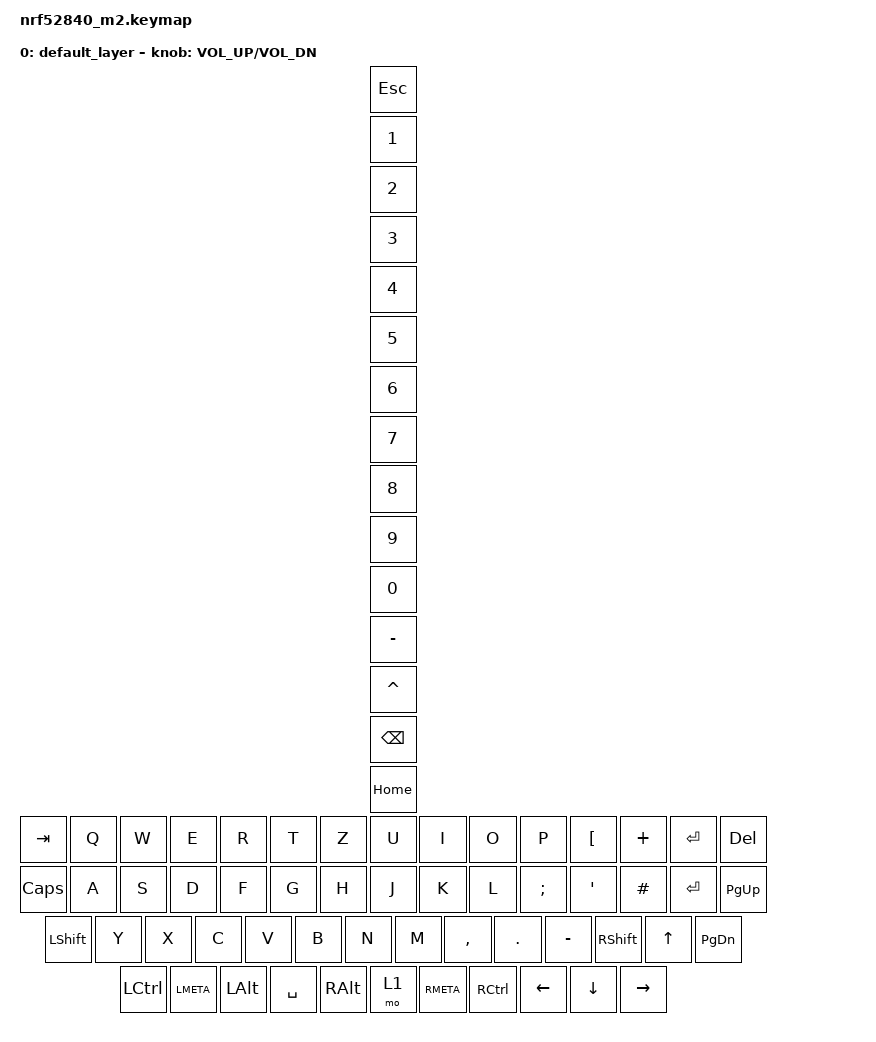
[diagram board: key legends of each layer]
#include <behaviors.dtsi>
#include <dt-bindings/zmk/keys.h>
#include <dt-bindings/zmk/bt.h>
#include <dt-bindings/zmk/rgb.h>
#include <dt-bindings/zmk/backlight.h>


/ {
  chosen {
    zmk,physical-layout = &layout_75_ansi;
  };

  keymap {
    compatible = "zmk,keymap";
    default_layer {
      bindings = <
        &kp ESC
        &kp N1
        &kp N2
        &kp N3
        &kp N4
        &kp N5
        &kp N6
        &kp N7
        &kp  N8
        &kp  N9
        &kp N0
        &kp MINUS
        &kp CARET
        &kp BSPC
        &kp HOME
        &kp TAB   &kp Q  &kp W  &kp E  &kp R  &kp T  &kp Z  &kp U  &kp  I    &kp  O  &kp  P &kp LEFT_BRACKET &kp PLUS &kp ENTER &kp DEL
        &kp CLCK &kp A  &kp S  &kp D  &kp F  &kp G  &kp H  &kp J  &kp  K    &kp  L &kp SEMICOLON &kp SINGLE_QUOTE &kp HASH &kp RET &kp PG_UP
        &kp LSHFT     &kp Y  &kp X  &kp C  &kp V  &kp B  &kp N  &kp M  &kp COMMA &kp DOT &kp MINUS   &kp RSHFT   &kp UP &kp PG_DN
        &kp LCTRL &kp LMETA &kp LALT            &kp SPACE                   &kp RALT  &mo 1 &kp RMETA &kp RCTRL &kp LEFT &kp DOWN &kp RIGHT
      >;
      sensor-bindings = <&inc_dec_kp C_VOL_UP C_VOL_DN>;
    };
  };
};
